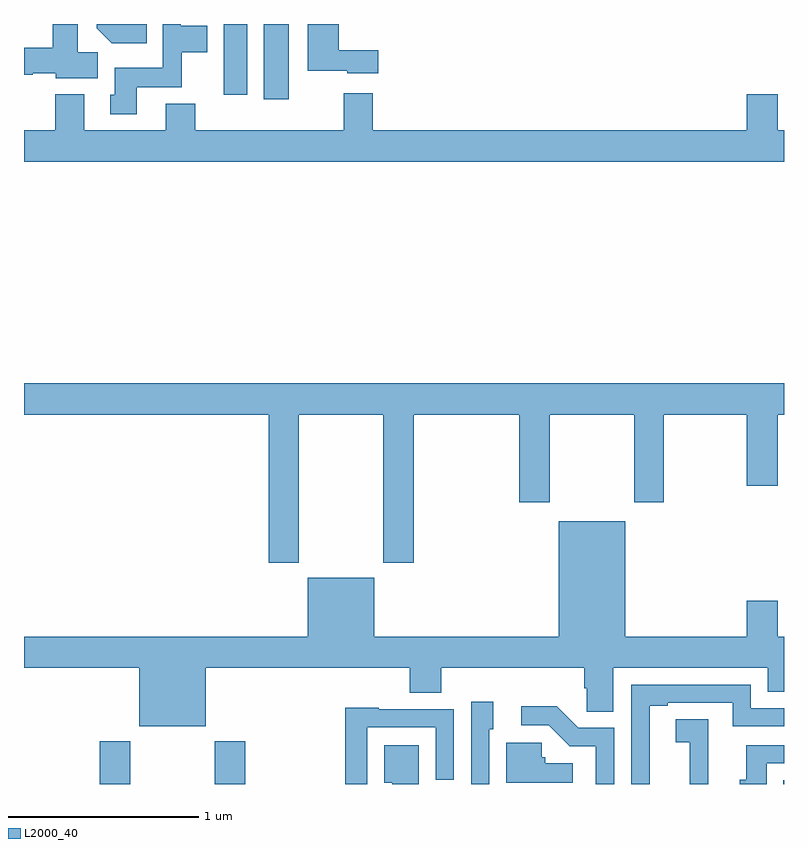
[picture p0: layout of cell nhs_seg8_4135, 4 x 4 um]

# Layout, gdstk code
import gdstk
lib = gdstk.Library(unit=1e-6, precision=1e-09)
def R(c, l, rs):  # rectangles x0, y0, x1, y1
    for r in rs: c.add(gdstk.rectangle(r[:2], r[2:], *l))
def P(c, l, *ps):  # polygons
    for p in ps: c.add(gdstk.Polygon(p, *l))
L2000_40 = (2000, 40)

nhs_seg8_4135 = lib.new_cell('nhs_seg8_4135')
R(nhs_seg8_4135, L2000_40, [(365.399,1103.9,365.559,1104.124), (366.004,1103.9,366.164,1104.124), (368.997,1103.9,369,1103.919), (366.263,1107.504,366.394,1107.9), (366.05,1107.528,366.175,1107.9)])
P(nhs_seg8_4135, L2000_40, [(365.645,1107.9),(365.384,1107.9),(365.384,1107.878),(365.462,1107.8),(365.645,1107.8)],
  [(365.389,1107.752),(365.284,1107.752),(365.284,1107.9),(365.15,1107.9),(365.15,1107.776),(365,1107.776),(365,1107.634),(365.046,1107.634),(365.046,1107.641),(365.166,1107.641),(365.166,1107.614),(365.389,1107.614)],
  [(366.865,1107.763),(366.656,1107.763),(366.656,1107.9),(366.494,1107.9),(366.494,1107.653),(366.702,1107.653),(366.702,1107.641),(366.865,1107.641)],
  [(365.593,1107.566),(365.829,1107.566),(365.829,1107.752),(365.965,1107.752),(365.965,1107.892),(365.826,1107.892),(365.826,1107.9),(365.73,1107.9),(365.73,1107.67),(365.477,1107.67),(365.477,1107.528),(365.453,1107.528),(365.453,1107.426),(365.593,1107.426)],
  [(369,1107.34),(368.968,1107.34),(368.968,1107.529),(368.804,1107.529),(368.804,1107.34),(366.836,1107.34),(366.836,1107.535),(366.683,1107.535),(366.683,1107.34),(365.9,1107.34),(365.9,1107.481),(365.747,1107.481),(365.747,1107.34),(365.317,1107.34),(365.317,1107.529),(365.165,1107.529),(365.165,1107.34),(365,1107.34),(365,1107.176),(369,1107.176)],
  [(366.447,1105.844),(366.892,1105.844),(366.892,1105.065),(367.052,1105.065),(367.052,1105.844),(367.607,1105.844),(367.607,1105.383),(367.767,1105.383),(367.767,1105.844),(368.212,1105.844),(368.212,1105.383),(368.367,1105.383),(368.367,1105.844),(368.804,1105.844),(368.804,1105.47),(368.968,1105.47),(368.968,1105.844),(369,1105.844),(369,1106.008),(365,1106.008),(365,1105.844),(366.287,1105.844),(366.287,1105.065),(366.447,1105.065)],
  [(365.956,1104.512),(367.031,1104.512),(367.031,1104.379),(367.196,1104.379),(367.196,1104.512),(367.949,1104.512),(367.949,1104.403),(367.962,1104.403),(367.962,1104.28),(368.101,1104.28),(368.101,1104.512),(368.915,1104.512),(368.915,1104.385),(369,1104.385),(369,1104.676),(368.968,1104.676),(368.968,1104.865),(368.804,1104.865),(368.804,1104.676),(368.164,1104.676),(368.164,1105.282),(367.814,1105.282),(367.814,1104.676),(366.844,1104.676),(366.844,1104.985),(366.494,1104.985),(366.494,1104.676),(365,1104.676),(365,1104.512),(365.606,1104.512),(365.606,1104.203),(365.956,1104.203)],
  [(368.293,1104.312),(368.389,1104.312),(368.389,1104.327),(368.73,1104.327),(368.73,1104.204),(369,1104.204),(369,1104.3),(368.826,1104.3),(368.826,1104.423),(368.196,1104.423),(368.196,1103.9),(368.293,1103.9)],
  [(367.449,1104.189),(367.471,1104.189),(367.471,1104.334),(367.353,1104.334),(367.353,1103.9),(367.449,1103.9)],
  [(368.106,1104.195),(367.917,1104.195),(367.804,1104.308),(367.617,1104.308),(367.617,1104.21),(367.761,1104.21),(367.872,1104.099),(368.01,1104.099),(368.01,1103.9),(368.106,1103.9)],
  [(366.807,1104.198),(367.167,1104.198),(367.167,1103.922),(367.263,1103.922),(367.263,1104.294),(366.867,1104.294),(366.867,1104.301),(366.691,1104.301),(366.691,1103.9),(366.807,1103.9)],
  [(368.602,1104.131),(368.6,1104.131),(368.6,1104.242),(368.43,1104.242),(368.43,1104.121),(368.504,1104.121),(368.504,1103.923),(368.505,1103.923),(368.505,1103.9),(368.602,1103.9)],
  [(367.888,1104.01),(367.744,1104.01),(367.744,1104.042),(367.725,1104.042),(367.725,1104.117),(367.538,1104.117),(367.538,1103.906),(367.888,1103.906)],
  [(368.908,1104.009),(369,1104.009),(369,1104.105),(368.801,1104.105),(368.801,1103.922),(368.768,1103.922),(368.768,1103.9),(368.908,1103.9)],
  [(367.078,1104.103),(366.896,1104.103),(366.896,1103.906),(366.938,1103.906),(366.938,1103.9),(367.078,1103.9)])

lib.write_gds('nhs_seg8_4135.gds')
